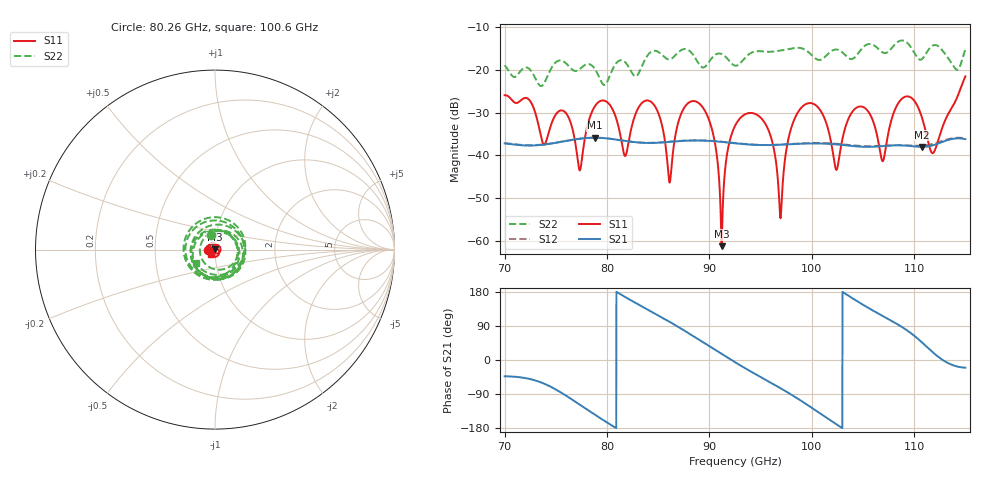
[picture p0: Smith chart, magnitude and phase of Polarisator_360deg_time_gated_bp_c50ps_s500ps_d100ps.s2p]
# Hz S RI R 1.000000
! Metas.Vna.Tools, 2.4.7898.19887
! Metas.Vna.Data, 2.4.7898.19873
! Created: UTC 2021.09.30 14:31:00
! FREQ  re:S1,1  im:S1,1  re:S2,1  im:S2,1  re:S1,2  im:S1,2  re:S2,2  im:S2,2
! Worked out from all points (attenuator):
!   2251 points, 70 GHz to 115 GHz, reference 1 ohm
!   highest |S21| = -35.90 dB at 78.78 GHz (marker M1); lowest = -38.0 dB at 110.7 GHz (marker M2)
!   lowest |S11| = -61.3 dB at 91.2 GHz (marker M3), VSWR 1.00, Z = 1 + j0.0017 ohm
!   |S11| at or under -10 dB: start of sweep to end of sweep
!   |S22| runs from -23.8 to -13.2 dB; largest |S21 - S12| = 0.0032
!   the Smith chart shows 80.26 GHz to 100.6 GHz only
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7e10  0.0143 0.0483  0.01 -0.00939  0.01 -0.00961  0.101 -0.0498
7.384e10  -0.00904 -0.00968  0.00621 -0.0118  0.00628 -0.0119  -0.0687 -0.00479
7.586e10  -0.032 -0.00476  -0.000433 -0.0146  -0.000393 -0.0146  0.0825 -0.0909
7.75e10  0.00808 -0.000508  -0.00804 -0.0135  -0.00806 -0.0135  -0.0251 0.1028
7.878e10  -0.013 -0.0345  -0.0129 -0.00949  -0.013 -0.00949  0.0831 -0.0619
8.176e10  -0.00978 -0.000708  -0.0143 0.00345  -0.0144 0.0034  0.0705 -0.1008
8.5e10  -0.0124 0.0289  -0.00656 0.0124  -0.00666 0.0124  -0.00451 -0.1619
8.612e10  0.00448 -0.00169  -0.00266 0.0141  -0.00275 0.0142  -0.0884 0.0985
8.742e10  -0.0325 -0.00988  0.00262 0.0145  0.00257 0.0146  0.1616 -0.0628
8.942e10  -0.00399 0.0351  0.0103 0.0107  0.0104 0.0107  -0.0222 0.1039
9.12e10  -0.000176 0.000848  0.0138 0.00389  0.0139 0.00388  -0.0495 -0.1446
9.25e10  -0.00625 0.0211  0.0137 -0.00142  0.0138 -0.00143  -0.00385 0.1117
9.544e10  0.0097 -0.0215  0.00818 -0.0103  0.00828 -0.0103  -0.0293 0.1602
9.694e10  -0.00113 0.00145  0.00357 -0.0128  0.00366 -0.0128  0.0392 -0.1629
9.804e10  0.0212 -0.00497  -0.000496 -0.0135  -0.000444 -0.0136  -0.1625 0.071
1e11  -0.0109 -0.039  -0.00811 -0.0111  -0.00819 -0.0113  0.0677 -0.1317
1.0238e11  -0.00443 -0.0051  -0.0132 -0.00249  -0.0134 -0.00267  0.1716 0.0165
1.0436e11  -0.0213 -0.029  -0.0116 0.0051  -0.012 0.00488  -0.0757 0.1256
1.075e11  -0.00703 -0.0175  -0.00391 0.0123  -0.00456 0.0122  -0.0811 0.1424
1.1074e11  -0.0215 0.018  0.00856 0.00916  0.00803 0.0102  -0.0427 0.1256
1.119e11  -0.00982 0.00448  0.0125 0.00417  0.0123 0.00599  0.1744 -0.0841
1.15e11  -0.0836 0.00292  0.0145 -0.00533  0.0156 -0.00233  0.1088 -0.1356
